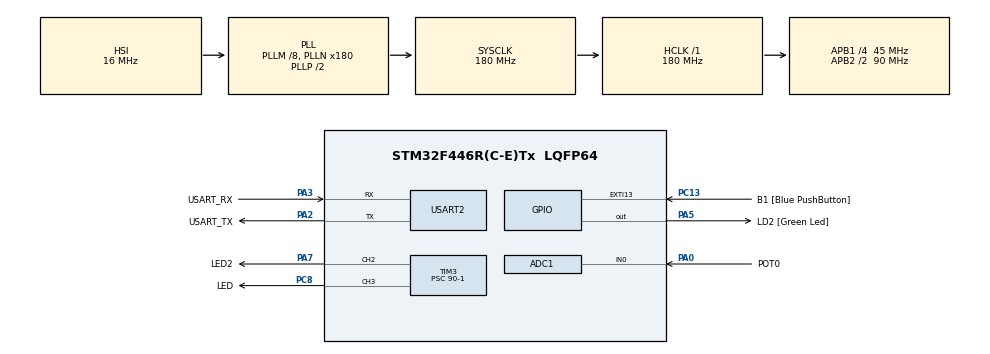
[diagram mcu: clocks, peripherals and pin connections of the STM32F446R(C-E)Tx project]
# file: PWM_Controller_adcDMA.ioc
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ADC1.Channel-0\#ChannelRegularConversion=ADC_CHANNEL_0
ADC1.ContinuousConvMode=ENABLE
ADC1.DMAContinuousRequests=ENABLE
ADC1.NbrOfConversionFlag=1
ADC1.Rank-0\#ChannelRegularConversion=1
ADC1.SamplingTime-0\#ChannelRegularConversion=ADC_SAMPLETIME_480CYCLES
ADC1.ScanConvMode=ENABLE
ADC1.master=1
Dma.ADC1.0.Direction=DMA_PERIPH_TO_MEMORY
Dma.ADC1.0.FIFOMode=DMA_FIFOMODE_DISABLE
Dma.ADC1.0.Instance=DMA2_Stream0
Dma.ADC1.0.MemDataAlignment=DMA_MDATAALIGN_HALFWORD
Dma.ADC1.0.MemInc=DMA_MINC_ENABLE
Dma.ADC1.0.Mode=DMA_CIRCULAR
Dma.ADC1.0.PeriphDataAlignment=DMA_PDATAALIGN_HALFWORD
Dma.ADC1.0.PeriphInc=DMA_PINC_DISABLE
Dma.ADC1.0.Priority=DMA_PRIORITY_LOW
Dma.Request0=ADC1
Mcu.Family=STM32F4
Mcu.Name=STM32F446R(C-E)Tx
Mcu.Package=LQFP64
NVIC.DMA2_Stream0_IRQn=true\:0\:0\:false\:false\:true\:false\:true\:true
NVIC.PriorityGroup=NVIC_PRIORITYGROUP_0
PA0-WKUP.GPIO_Label=POT0
PA0-WKUP.Signal=ADCx_IN0
PA13.GPIO_Label=TMS
PA13.Mode=Serial_Wire
PA13.Signal=SYS_JTMS-SWDIO
PA14.GPIO_Label=TCK
PA14.Mode=Serial_Wire
PA14.Signal=SYS_JTCK-SWCLK
PA2.GPIO_Label=USART_TX
PA2.Mode=Asynchronous
PA2.Signal=USART2_TX
PA3.GPIO_Label=USART_RX
PA3.Mode=Asynchronous
PA3.Signal=USART2_RX
PA5.GPIO_Label=LD2 [Green Led]
PA5.Signal=GPIO_Output
PA7.GPIO_Label=LED2
PA7.Signal=S_TIM3_CH2
PB3.GPIO_Label=SWO
PB3.Signal=SYS_JTDO-SWO
PC13.GPIO_Label=B1 [Blue PushButton]
PC13.GPIO_ModeDefaultEXTI=GPIO_MODE_IT_FALLING
PC13.Signal=GPXTI13
PC14-OSC32_IN.Mode=LSE-External-Oscillator
PC14-OSC32_IN.Signal=RCC_OSC32_IN
PC15-OSC32_OUT.Mode=LSE-External-Oscillator
PC15-OSC32_OUT.Signal=RCC_OSC32_OUT
PC8.GPIO_Label=LED
PC8.Signal=S_TIM3_CH3
PH0-OSC_IN.Mode=HSE-External-Oscillator
PH0-OSC_IN.Signal=RCC_OSC_IN
PH1-OSC_OUT.Mode=HSE-External-Oscillator
PH1-OSC_OUT.Signal=RCC_OSC_OUT
ProjectManager.HeapSize=0x200
ProjectManager.StackSize=0x400
ProjectManager.TargetToolchain=STM32CubeIDE
RCC.48MHZClocksFreq_Value=84000000
RCC.AHBFreq_Value=180000000
RCC.APB1CLKDivider=RCC_HCLK_DIV4
RCC.APB1Freq_Value=45000000
RCC.APB1TimFreq_Value=90000000
RCC.APB2CLKDivider=RCC_HCLK_DIV2
RCC.APB2Freq_Value=90000000
RCC.APB2TimFreq_Value=180000000
RCC.CortexFreq_Value=180000000
RCC.FLatency-AdvancedSettings=FLASH_LATENCY_5
RCC.HCLKFreq_Value=180000000
RCC.HSE_VALUE=8000000
RCC.HSI_VALUE=16000000
RCC.PLLM=8
RCC.PLLN=180
RCC.SYSCLKFreq_VALUE=180000000
RCC.SYSCLKSource=RCC_SYSCLKSOURCE_PLLCLK
RCC.USBFreq_Value=180000000
RCC.VCOOutputFreq_Value=360000000
SH.ADCx_IN0.0=ADC1_IN0,IN0
SH.S_TIM3_CH2.0=TIM3_CH2,PWM Generation2 CH2
SH.S_TIM3_CH3.0=TIM3_CH3,PWM Generation3 CH3
TIM3.Channel-PWM\ Generation2\ CH2=TIM_CHANNEL_2
TIM3.Channel-PWM\ Generation3\ CH3=TIM_CHANNEL_3
TIM3.Period=10000-1
TIM3.Prescaler=90-1
USART2.VirtualMode=VM_ASYNC
VP_TIM3_VS_ClockSourceINT.Mode=Internal
board=NUCLEO-F446RE

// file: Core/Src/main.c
/* USER CODE BEGIN Header */
/**
 ******************************************************************************
 * @file           : main.c
 * @brief          : Main program body
 ******************************************************************************
 * @attention
 *
 * Copyright (c) 2026 STMicroelectronics.
 * All rights reserved.
 *
 * This software is licensed under terms that can be found in the LICENSE file
 * in the root directory of this software component.
 * If no LICENSE file comes with this software, it is provided AS-IS.
 *
 ******************************************************************************
 */
/* USER CODE END Header */
#include "main.h"

/* USER CODE BEGIN Includes */
#include <math.h>
#include <stdio.h>
/* USER CODE END Includes */

ADC_HandleTypeDef hadc1;
DMA_HandleTypeDef hdma_adc1;

TIM_HandleTypeDef htim3;

UART_HandleTypeDef huart2;

/* USER CODE BEGIN PV */
volatile uint16_t adcValue = 0; // volatile because it's updated in the DMA interrupt callback
/* USER CODE END PV */

void SystemClock_Config(void);
static void MX_GPIO_Init(void);
static void MX_DMA_Init(void);
static void MX_ADC1_Init(void);
static void MX_TIM3_Init(void);
static void MX_USART2_UART_Init(void);
/* USER CODE BEGIN PFP */

/*
 * @brief Utility function to map a value from one range to another
 * @param x The value to map
 * @param in_min The lower bound of the input range
 * @param in_max The upper bound of the input range
 * @param out_min The lower bound of the output range
 * @param out_max The upper bound of the output range
 * @return The mapped value in the output range
 *
 */
float map(float x, float in_min, float in_max, float out_min, float out_max) { // Utility function to map a value from one range to another
	return (x - in_min) * (out_max - out_min) / (in_max - in_min) + out_min;
}
/* USER CODE END PFP */

/* USER CODE BEGIN 0 */
float analogToVoltage(unsigned int val) {
	return ((float) val * 3.3) / 4095;
}

/*
 * @brief Applies gamma correction to a 12-bit ADC value
 * @param input The raw ADC value (0-4095)
 * @param gamma The gamma correction factor (e.g., 2.2 for typical displays)
 * @return The gamma-corrected ADC value (0-4095)
 */
uint16_t gammaCorrect(uint16_t input, float gamma) {
	float normalized = (float) input / 4095.0f;
	float corrected = powf(normalized, gamma);
	return (uint16_t) (corrected * 4095.0f + 0.5f);
}

/* USER CODE END 0 */

int main(void)
{

  /* MCU Configuration--------------------------------------------------------*/

  /* Reset of all peripherals, Initializes the Flash interface and the Systick. */
  HAL_Init();

  /* Configure the system clock */
  SystemClock_Config();

  /* Initialize all configured peripherals */
  MX_GPIO_Init();
  MX_DMA_Init();
  MX_ADC1_Init();
  MX_TIM3_Init();
  MX_USART2_UART_Init();
  /* USER CODE BEGIN 2 */
	HAL_ADC_Start_DMA(&hadc1, (uint32_t*) &adcValue, 1); // Start ADC in DMA mode, storing result in adcValue
	HAL_TIM_PWM_Start(&htim3, TIM_CHANNEL_3); // Start PWM on TIM3 Channel 3
	HAL_TIM_PWM_Start(&htim3, TIM_CHANNEL_2); // Start PWM on TIM3 Channel 2
  /* USER CODE END 2 */

  /* Infinite loop */
	while (1) {

    /* USER CODE BEGIN 3 */

//		if (adcValue < 50)
//			adcValue = 0; // Simple thresholding to avoid noise at low values
		float potVoltage = analogToVoltage(adcValue); // Convert ADC value to voltage

//		float pulseWidth1 = map(potVoltage, 0.0, 3.3, 0.0, 2000); // Map voltage to duty cycle percentage
//		uint16_t correctedValue = gammaCorrect(adcValue, 2.2f); // Apply gamma correction to the ADC value
//		float pulseWidth2 = map(correctedValue, 0.0, 4095.0, 0.0, 2000); // Map gamma-corrected value to duty cycle percentage

//		__HAL_TIM_SET_COMPARE(&htim3, TIM_CHANNEL_2, pulseWidth1); // Update PWM duty cycle based on ADC reading using gamma correction
//		__HAL_TIM_SET_COMPARE(&htim3, TIM_CHANNEL_3, pulseWidth2); // Update PWM duty cycle based on ADC reading

		// Compact version without intermediate variables:
//		__HAL_TIM_SET_COMPARE(&htim3, TIM_CHANNEL_3, adcValue * (htim3.Init.Period + 1) / 4095); // Directly set compare value based on ADC reading

		// Control for ESC
		float pulseWidth = (map(potVoltage, 0.0, 3.3, 1100, 1900)); // Map voltage to duty cycle percentage
		__HAL_TIM_SET_COMPARE(&htim3, TIM_CHANNEL_3, pulseWidth);
	}
  /* USER CODE END 3 */
}

void SystemClock_Config(void)
{
  RCC_OscInitTypeDef RCC_OscInitStruct = {0};
  RCC_ClkInitTypeDef RCC_ClkInitStruct = {0};

  /** Configure the main internal regulator output voltage
  */
  __HAL_RCC_PWR_CLK_ENABLE();
  __HAL_PWR_VOLTAGESCALING_CONFIG(PWR_REGULATOR_VOLTAGE_SCALE1);

  /** Initializes the RCC Oscillators according to the specified parameters
  * in the RCC_OscInitTypeDef structure.
  */
  RCC_OscInitStruct.OscillatorType = RCC_OSCILLATORTYPE_HSI;
  RCC_OscInitStruct.HSIState = RCC_HSI_ON;
  RCC_OscInitStruct.HSICalibrationValue = RCC_HSICALIBRATION_DEFAULT;
  RCC_OscInitStruct.PLL.PLLState = RCC_PLL_ON;
  RCC_OscInitStruct.PLL.PLLSource = RCC_PLLSOURCE_HSI;
  RCC_OscInitStruct.PLL.PLLM = 8;
  RCC_OscInitStruct.PLL.PLLN = 180;
  RCC_OscInitStruct.PLL.PLLP = RCC_PLLP_DIV2;
  RCC_OscInitStruct.PLL.PLLQ = 2;
  RCC_OscInitStruct.PLL.PLLR = 2;
  if (HAL_RCC_OscConfig(&RCC_OscInitStruct) != HAL_OK)
  {
    Error_Handler();
  }

  /** Activate the Over-Drive mode
  */
  if (HAL_PWREx_EnableOverDrive() != HAL_OK)
  {
    Error_Handler();
  }

  /** Initializes the CPU, AHB and APB buses clocks
  */
  RCC_ClkInitStruct.ClockType = RCC_CLOCKTYPE_HCLK|RCC_CLOCKTYPE_SYSCLK
                              |RCC_CLOCKTYPE_PCLK1|RCC_CLOCKTYPE_PCLK2;
  RCC_ClkInitStruct.SYSCLKSource = RCC_SYSCLKSOURCE_PLLCLK;
  RCC_ClkInitStruct.AHBCLKDivider = RCC_SYSCLK_DIV1;
  RCC_ClkInitStruct.APB1CLKDivider = RCC_HCLK_DIV4;
  RCC_ClkInitStruct.APB2CLKDivider = RCC_HCLK_DIV2;

  if (HAL_RCC_ClockConfig(&RCC_ClkInitStruct, FLASH_LATENCY_5) != HAL_OK)
  {
    Error_Handler();
  }
}

static void MX_ADC1_Init(void)
{

  ADC_ChannelConfTypeDef sConfig = {0};

  /** Configure the global features of the ADC (Clock, Resolution, Data Alignment and number of conversion)
  */
  hadc1.Instance = ADC1;
  hadc1.Init.ClockPrescaler = ADC_CLOCK_SYNC_PCLK_DIV4;
  hadc1.Init.Resolution = ADC_RESOLUTION_12B;
  hadc1.Init.ScanConvMode = ENABLE;
  hadc1.Init.ContinuousConvMode = ENABLE;
  hadc1.Init.DiscontinuousConvMode = DISABLE;
  hadc1.Init.ExternalTrigConvEdge = ADC_EXTERNALTRIGCONVEDGE_NONE;
  hadc1.Init.ExternalTrigConv = ADC_SOFTWARE_START;
  hadc1.Init.DataAlign = ADC_DATAALIGN_RIGHT;
  hadc1.Init.NbrOfConversion = 1;
  hadc1.Init.DMAContinuousRequests = ENABLE;
  hadc1.Init.EOCSelection = ADC_EOC_SINGLE_CONV;
  if (HAL_ADC_Init(&hadc1) != HAL_OK)
  {
    Error_Handler();
  }

  /** Configure for the selected ADC regular channel its corresponding rank in the sequencer and its sample time.
  */
  sConfig.Channel = ADC_CHANNEL_0;
  sConfig.Rank = 1;
  sConfig.SamplingTime = ADC_SAMPLETIME_480CYCLES;
  if (HAL_ADC_ConfigChannel(&hadc1, &sConfig) != HAL_OK)
  {
    Error_Handler();
  }

}

static void MX_TIM3_Init(void)
{

  TIM_ClockConfigTypeDef sClockSourceConfig = {0};
  TIM_MasterConfigTypeDef sMasterConfig = {0};
  TIM_OC_InitTypeDef sConfigOC = {0};

  htim3.Instance = TIM3;
  htim3.Init.Prescaler = 90-1;
  htim3.Init.CounterMode = TIM_COUNTERMODE_UP;
  htim3.Init.Period = 10000-1;
  htim3.Init.ClockDivision = TIM_CLOCKDIVISION_DIV1;
  htim3.Init.AutoReloadPreload = TIM_AUTORELOAD_PRELOAD_DISABLE;
  if (HAL_TIM_Base_Init(&htim3) != HAL_OK)
  {
    Error_Handler();
  }
  sClockSourceConfig.ClockSource = TIM_CLOCKSOURCE_INTERNAL;
  if (HAL_TIM_ConfigClockSource(&htim3, &sClockSourceConfig) != HAL_OK)
  {
    Error_Handler();
  }
  if (HAL_TIM_PWM_Init(&htim3) != HAL_OK)
  {
    Error_Handler();
  }
  sMasterConfig.MasterOutputTrigger = TIM_TRGO_RESET;
  sMasterConfig.MasterSlaveMode = TIM_MASTERSLAVEMODE_DISABLE;
  if (HAL_TIMEx_MasterConfigSynchronization(&htim3, &sMasterConfig) != HAL_OK)
  {
    Error_Handler();
  }
  sConfigOC.OCMode = TIM_OCMODE_PWM1;
  sConfigOC.Pulse = 0;
  sConfigOC.OCPolarity = TIM_OCPOLARITY_HIGH;
  sConfigOC.OCFastMode = TIM_OCFAST_DISABLE;
  if (HAL_TIM_PWM_ConfigChannel(&htim3, &sConfigOC, TIM_CHANNEL_2) != HAL_OK)
  {
    Error_Handler();
  }
  if (HAL_TIM_PWM_ConfigChannel(&htim3, &sConfigOC, TIM_CHANNEL_3) != HAL_OK)
  {
    Error_Handler();
  }
  HAL_TIM_MspPostInit(&htim3);

}

static void MX_USART2_UART_Init(void)
{

  huart2.Instance = USART2;
  huart2.Init.BaudRate = 115200;
  huart2.Init.WordLength = UART_WORDLENGTH_8B;
  huart2.Init.StopBits = UART_STOPBITS_1;
  huart2.Init.Parity = UART_PARITY_NONE;
  huart2.Init.Mode = UART_MODE_TX_RX;
  huart2.Init.HwFlowCtl = UART_HWCONTROL_NONE;
  huart2.Init.OverSampling = UART_OVERSAMPLING_16;
  if (HAL_UART_Init(&huart2) != HAL_OK)
  {
    Error_Handler();
  }

}

static void MX_DMA_Init(void)
{

  /* DMA controller clock enable */
  __HAL_RCC_DMA2_CLK_ENABLE();

  /* DMA interrupt init */
  /* DMA2_Stream0_IRQn interrupt configuration */
  HAL_NVIC_SetPriority(DMA2_Stream0_IRQn, 0, 0);
  HAL_NVIC_EnableIRQ(DMA2_Stream0_IRQn);

}

static void MX_GPIO_Init(void)
{
  GPIO_InitTypeDef GPIO_InitStruct = {0};

  /* GPIO Ports Clock Enable */
  __HAL_RCC_GPIOC_CLK_ENABLE();
  __HAL_RCC_GPIOH_CLK_ENABLE();
  __HAL_RCC_GPIOA_CLK_ENABLE();
  __HAL_RCC_GPIOB_CLK_ENABLE();

  /*Configure GPIO pin Output Level */
  HAL_GPIO_WritePin(LD2_GPIO_Port, LD2_Pin, GPIO_PIN_RESET);

  /*Configure GPIO pin : B1_Pin */
  GPIO_InitStruct.Pin = B1_Pin;
  GPIO_InitStruct.Mode = GPIO_MODE_IT_FALLING;
  GPIO_InitStruct.Pull = GPIO_NOPULL;
  HAL_GPIO_Init(B1_GPIO_Port, &GPIO_InitStruct);

  /*Configure GPIO pin : LD2_Pin */
  GPIO_InitStruct.Pin = LD2_Pin;
  GPIO_InitStruct.Mode = GPIO_MODE_OUTPUT_PP;
  GPIO_InitStruct.Pull = GPIO_NOPULL;
  GPIO_InitStruct.Speed = GPIO_SPEED_FREQ_LOW;
  HAL_GPIO_Init(LD2_GPIO_Port, &GPIO_InitStruct);

}

/* USER CODE BEGIN 4 */
int __io_putchar(int ch) {
//	HAL_UART_Transmit(&huart2, (uint8_t*) &ch, 1, HAL_MAX_DELAY); // Transmit the character over UART
	ITM_SendChar(ch); // Send the character to the SWO console (for debugging)
	return ch;
}
/* USER CODE END 4 */

void Error_Handler(void)
{
	__disable_irq();
	while (1) {
	}
}
